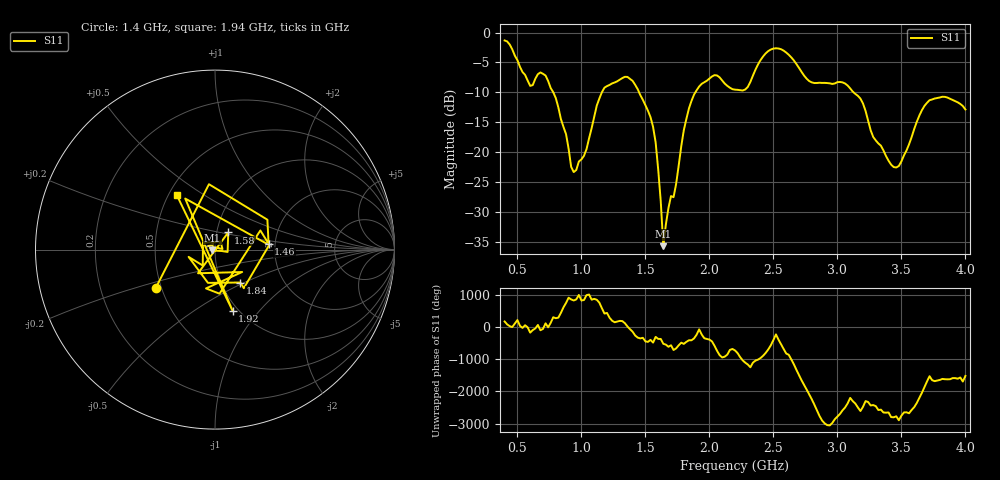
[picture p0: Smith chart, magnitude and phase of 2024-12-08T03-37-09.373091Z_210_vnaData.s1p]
!Created with skrf (http://scikit-rf.org).
# Hz S RI R 50.0
!freq ReS11 ImS11
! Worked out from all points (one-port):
!   181 points, 400 MHz to 4 GHz, reference 50 ohm
!   lowest |S11| = -35.7 dB at 1.64 GHz (marker M1), VSWR 1.03, Z = 48.5 - j0.486 ohm
!   |S11| at or under -10 dB: 780.5 MHz to 1.16 GHz (379 MHz wide, 39.1 % of centre); 1.451 GHz to 1.89 GHz (439.4 MHz wide, 26.3 % of centre); 3.127 GHz to end of sweep
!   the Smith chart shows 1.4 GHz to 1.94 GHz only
!   S11 on the Smith chart (normalised r, x): 1.4 GHz: 0.46, -0.24; 1.46 GHz: 1.85, +0.13; 1.58 GHz: 1.14, +0.22; 1.84 GHz: 1.23, -0.48; 1.92 GHz: 0.94, -0.73; 1.94 GHz: 0.55, +0.39
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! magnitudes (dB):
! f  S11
! 400 MHz  -1.3
! 600 MHz  -8.9
! 720 MHz  -7.2
! 860 MHz  -15.8
! 920 MHz  -22.5
! 960 MHz  -23.0
! 1.16 GHz  -10.0
! 1.3 GHz  -7.9
! 1.4 GHz  -8.1
! 1.46 GHz  -10.4
! 1.58 GHz  -18.4
! 1.64 GHz  -35.7
! 1.68 GHz  -29.3
! 1.76 GHz  -22.3
! 1.84 GHz  -12.7
! 1.92 GHz  -9.0
! 1.94 GHz  -8.6
! 2.06 GHz  -7.2
! 2.2 GHz  -9.5
! 2.3 GHz  -9.1
! 2.48 GHz  -2.8
! 2.66 GHz  -4.7
! 2.8 GHz  -8.3
! 3.1 GHz  -9.3
! 3.42 GHz  -22.1
! 3.56 GHz  -18.7
! 3.72 GHz  -11.3
! 4 GHz  -12.9
